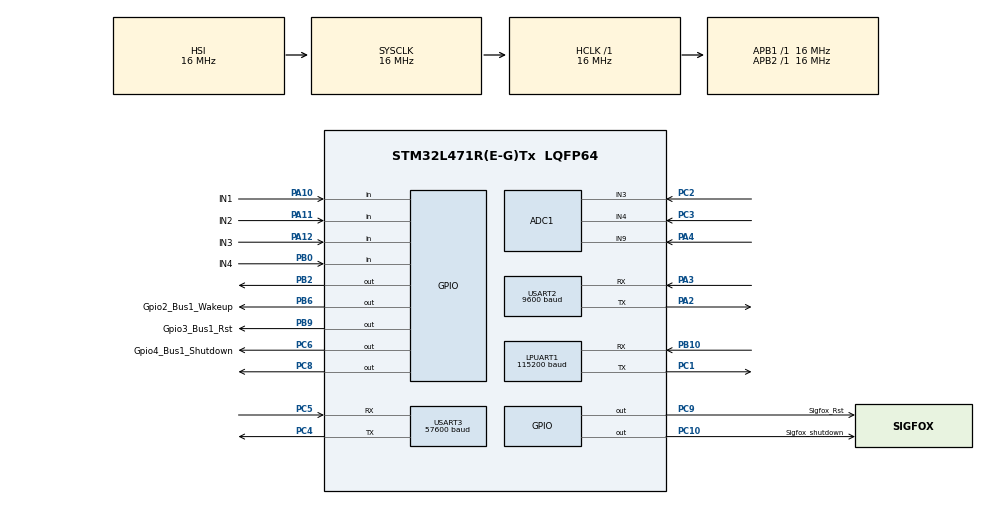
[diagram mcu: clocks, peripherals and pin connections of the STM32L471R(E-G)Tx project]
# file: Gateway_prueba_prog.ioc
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ADC1.Channel-6\#ChannelRegularConversion=ADC_CHANNEL_9
ADC1.EnableInjectedConversion=DISABLE
ADC1.EnableRegularConversion=ENABLE
ADC1.NbrOfConversionFlag=1
ADC1.OffsetNumber-6\#ChannelRegularConversion=ADC_OFFSET_NONE
ADC1.Rank-6\#ChannelRegularConversion=1
ADC1.SamplingTime-6\#ChannelRegularConversion=ADC_SAMPLETIME_92CYCLES_5
ADC1.master=1
LPUART1.BaudRate=115200
LPUART1.WordLength=UART_WORDLENGTH_8B
Mcu.Family=STM32L4
Mcu.Name=STM32L471R(E-G)Tx
Mcu.Package=LQFP64
NVIC.LPUART1_IRQn=true\:0\:0\:false\:false\:true\:true\:true
NVIC.PriorityGroup=NVIC_PRIORITYGROUP_4
NVIC.RTC_WKUP_IRQn=true\:0\:0\:false\:false\:true\:true\:true
NVIC.USART2_IRQn=true\:0\:0\:false\:false\:true\:true\:true
NVIC.USART3_IRQn=true\:0\:0\:false\:false\:true\:true\:true
PA10.GPIO_Label=IN1
PA10.Signal=GPIO_Input
PA11.GPIO_Label=IN2
PA11.Signal=GPIO_Input
PA12.GPIO_Label=IN3
PA12.Signal=GPIO_Input
PA2.Mode=Asynchronous
PA2.Signal=USART2_TX
PA3.Mode=Asynchronous
PA3.Signal=USART2_RX
PA4.Signal=ADCx_IN9
PB0.GPIO_Label=IN4
PB0.Signal=GPIO_Input
PB10.Mode=Asynchronous
PB10.Signal=LPUART1_RX
PB2.Signal=GPIO_Output
PB6.GPIO_Label=Gpio2_Bus1_Wakeup
PB6.Signal=GPIO_Output
PB9.GPIO_Label=Gpio3_Bus1_Rst
PB9.Signal=GPIO_Output
PC1.Mode=Asynchronous
PC1.Signal=LPUART1_TX
PC10.GPIO_Label=Sigfox_shutdown
PC10.Signal=GPIO_Output
PC2.Signal=ADCx_IN3
PC3.Signal=ADCx_IN4
PC4.Mode=Asynchronous
PC4.Signal=USART3_TX
PC5.Mode=Asynchronous
PC5.Signal=USART3_RX
PC6.GPIO_Label=Gpio4_Bus1_Shutdown
PC6.Signal=GPIO_Output
PC8.Signal=GPIO_Output
PC9.GPIO_Label=Sigfox_Rst
PC9.Signal=GPIO_Output
ProjectManager.HeapSize=0x200
ProjectManager.StackSize=0x400
ProjectManager.TargetToolchain=STM32CubeIDE
RCC.ADCFreq_Value=32000000
RCC.AHBFreq_Value=16000000
RCC.APB1Freq_Value=16000000
RCC.APB1TimFreq_Value=16000000
RCC.APB2Freq_Value=16000000
RCC.APB2TimFreq_Value=16000000
RCC.CortexFreq_Value=16000000
RCC.HCLKFreq_Value=16000000
RCC.HSE_VALUE=8000000
RCC.HSI_VALUE=16000000
RCC.LSE_VALUE=32768
RCC.MSI_VALUE=4000000
RCC.PLLSAI1N=16
RCC.PLLSAI1R=RCC_PLLR_DIV8
RCC.PLLSourceVirtual=RCC_PLLSOURCE_HSI
RCC.SYSCLKFreq_VALUE=16000000
RCC.SYSCLKSource=RCC_SYSCLKSOURCE_HSI
RCC.VCOOutputFreq_Value=128000000
RTC.WakeUpClock-WakeUp=RTC_WAKEUPCLOCK_CK_SPRE_16BITS
RTC.WakeUpCounter-WakeUp=30
SH.ADCx_IN3.0=ADC1_IN3,IN3-Single-Ended
SH.ADCx_IN4.0=ADC1_IN4,IN4-Single-Ended
SH.ADCx_IN9.0=ADC1_IN9,IN9-Single-Ended
USART2.BaudRate=9600
USART2.VirtualMode-Asynchronous=VM_ASYNC
USART3.BaudRate=57600
USART3.VirtualMode-Asynchronous=VM_ASYNC
VP_RTC_VS_RTC_Activate.Mode=RTC_Enabled
VP_RTC_VS_RTC_WakeUp_intern.Mode=WakeUp
board=custom

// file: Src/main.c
/* USER CODE BEGIN Header */
/**
  ******************************************************************************
  * @file           : main.c
  * @brief          : Main program body
  ******************************************************************************
  * @attention
  *
  * <h2><center>&copy; Copyright (c) 2019 STMicroelectronics.
  * All rights reserved.</center></h2>
  *
  * This software component is licensed by ST under BSD 3-Clause license,
  * the "License"; You may not use this file except in compliance with the
  * License. You may obtain a copy of the License at:
  *                        opensource.org/licenses/BSD-3-Clause
  *
  ******************************************************************************
  */
/* USER CODE END Header */

#include "main.h"

/* USER CODE BEGIN Includes */
#include <string.h>
#include "Common/Globals.h"
/* USER CODE END Includes */

ADC_HandleTypeDef hadc1;

UART_HandleTypeDef hlpuart1;
UART_HandleTypeDef huart2;
UART_HandleTypeDef huart3;

RTC_HandleTypeDef hrtc;

/* USER CODE BEGIN PV */
void PutCharWrapperLpUart_1(void *sp, const char c);
void PutStringWrapperLpUart_1(void *sp, const char *s);
/* USER CODE END PV */

void SystemClock_Config(void);
static void MX_GPIO_Init(void);
static void MX_LPUART1_UART_Init(void);
static void MX_USART3_UART_Init(void);
static void MX_USART2_UART_Init(void);
static void MX_ADC1_Init(void);
static void MX_RTC_Init(void);

int main(void)
{

  /* MCU Configuration--------------------------------------------------------*/

  /* Reset of all peripherals, Initializes the Flash interface and the Systick. */
  HAL_Init();

  /* Configure the system clock */
  SystemClock_Config();

  /* Initialize all configured peripherals */
  MX_GPIO_Init();
  MX_LPUART1_UART_Init();
  MX_USART3_UART_Init();
  MX_USART2_UART_Init();
  MX_ADC1_Init();
  MX_RTC_Init();
  /* USER CODE BEGIN 2 */

	HAL_UART_Receive_IT(&huart2,(uint8_t *)&UART_RX.Data,USART_RX_AMOUNT_BYTES);
	HAL_UART_Receive_IT(&huart3,(uint8_t *)&UART_RX3.Data,USART_RX_AMOUNT_BYTES);
	SigfoxModule.StatusFlag = WSSFM1XRX_Init(&SigfoxModule, RSTCtrl_Sigfox,
			RST2Ctrl_Sigfox, PutCharWrapperUart_1,
			WSSFM1XRX_RCZ4, DiscrimateFrameType, HAL_GetTick,BufferRxFrame,
			sizeof(BufferRxFrame), 4);
	SigFoxData.ReadyToUplink = 0;

	SigFoxData.ReadyToUplink = 0;
	SigFoxData.WilsolService_Status = WSSFM1XRX_STATUS_MODULE_NOT_INITIALIZED;

	qSetDebugFcn(UART_DEBUG);
	//HAL_PWR_EnableWakeUpPin(PWR_WAKEUP_PIN1); // quitar
	qResponseInitialize(&ResponseObject);
	//qResponseInitialize(&ResponseObjectLora);

	ProjectInformation();
	get_system_reset_cause();
	qSchedulerSetup(HAL_GetTick, 0.001, IdleTask_Callback, 0);

	qEdgeCheck_Initialize(&InputCheck, QREG_32BIT, 100);
	qEdgeCheck_InsertNode(&InputCheck, &InputButton, GPIOB_BASE, 0);

	qQueueCreate(&SigFox_UplinkQueue, mQueue_Stack, sizeof(SigfoxServiceRequest_t), 2);
	qTaskSetState(&Task_Wisol_Service,qEnabled);

	qSchedulerAddSMTask(&Task_ApplicationFSM, MEDIUM_Priority, 0.01, &StateMachine_ApplicationFSM, State_Init,NULL, NULL, State_Failure, NULL, qEnabled, NULL);
	qSchedulerAddxTask(&Task_Wisol_Service, WisolService_Callback, MEDIUM_Priority, 0.1, qPeriodic, qEnabled, NULL); /*en el mismo tiempo de la maquina de estados se pega en ATRC?? corutina??*/
	//qSchedulerAddxTask(&Task_LoRaWANService, LoRaWANService_Callback, MEDIUM_Priority, 0.1, qPeriodic, qDisabled, NULL); /*en el mismo tiempo de la maquina de estados se pega en ATRC?? corutina??*/

	qSchedulerAdd_EventTask(&Task_UplinkDispatcher, UplinkDispatcher_Callback, qHigh_Priority, NULL);
	qTaskAttachQueue(&Task_UplinkDispatcher, &SigFox_UplinkQueue, qQUEUE_COUNT, 1);

	qSchedulerRun();
  /* USER CODE END 2 */

  /* Infinite loop */
  while (1)
  {

    /* USER CODE BEGIN 3 */
	  //AN_IN1= ADC123_IN3(CORRIENTE)  AN_IN2 = ADC123_IN4(0-10) AN_IN3 = ADC12_IN9(0-5)
//	  value1 = App_ADCReadSingleChanne(&hadc1, 3);
//	  value2 = App_ADCReadSingleChanne(&hadc1, 4);
//	  value3 = App_ADCReadSingleChanne(&hadc1, 9);
//		// sprintf(buffer,"ADC_Current %d ADC_0_10 %d ADC_0_5 %d\r\n",value1 ,value2 ,value3 );
//		qTraceDecimal(value1);
//		qTraceDecimal(value2);
//		qTraceDecimal(value3);
//
//	  qTraceFloat(App_ADCReadSingleChanne(&hadc1, 3)*3.3/4095.0);
//		qTraceFloat(value2*3.3/4095.0);
//		qTraceFloat(value3*3.3/4095.0);

  }

  /* USER CODE END 3 */
}

void SystemClock_Config(void)
{
  RCC_OscInitTypeDef RCC_OscInitStruct = {0};
  RCC_ClkInitTypeDef RCC_ClkInitStruct = {0};
  RCC_PeriphCLKInitTypeDef PeriphClkInit = {0};

  /** Initializes the CPU, AHB and APB busses clocks
  */
  RCC_OscInitStruct.OscillatorType = RCC_OSCILLATORTYPE_HSI|RCC_OSCILLATORTYPE_LSI;
  RCC_OscInitStruct.HSIState = RCC_HSI_ON;
  RCC_OscInitStruct.HSICalibrationValue = RCC_HSICALIBRATION_DEFAULT;
  RCC_OscInitStruct.LSIState = RCC_LSI_ON;
  RCC_OscInitStruct.PLL.PLLState = RCC_PLL_NONE;
  if (HAL_RCC_OscConfig(&RCC_OscInitStruct) != HAL_OK)
  {
    Error_Handler();
  }
  /** Initializes the CPU, AHB and APB busses clocks
  */
  RCC_ClkInitStruct.ClockType = RCC_CLOCKTYPE_HCLK|RCC_CLOCKTYPE_SYSCLK
                              |RCC_CLOCKTYPE_PCLK1|RCC_CLOCKTYPE_PCLK2;
  RCC_ClkInitStruct.SYSCLKSource = RCC_SYSCLKSOURCE_HSI;
  RCC_ClkInitStruct.AHBCLKDivider = RCC_SYSCLK_DIV1;
  RCC_ClkInitStruct.APB1CLKDivider = RCC_HCLK_DIV1;
  RCC_ClkInitStruct.APB2CLKDivider = RCC_HCLK_DIV1;

  if (HAL_RCC_ClockConfig(&RCC_ClkInitStruct, FLASH_LATENCY_0) != HAL_OK)
  {
    Error_Handler();
  }
  PeriphClkInit.PeriphClockSelection = RCC_PERIPHCLK_RTC|RCC_PERIPHCLK_USART2
                              |RCC_PERIPHCLK_USART3|RCC_PERIPHCLK_LPUART1
                              |RCC_PERIPHCLK_ADC;
  PeriphClkInit.Usart2ClockSelection = RCC_USART2CLKSOURCE_PCLK1;
  PeriphClkInit.Usart3ClockSelection = RCC_USART3CLKSOURCE_PCLK1;
  PeriphClkInit.Lpuart1ClockSelection = RCC_LPUART1CLKSOURCE_PCLK1;
  PeriphClkInit.AdcClockSelection = RCC_ADCCLKSOURCE_PLLSAI1;
  PeriphClkInit.RTCClockSelection = RCC_RTCCLKSOURCE_LSI;
  PeriphClkInit.PLLSAI1.PLLSAI1Source = RCC_PLLSOURCE_HSI;
  PeriphClkInit.PLLSAI1.PLLSAI1M = 1;
  PeriphClkInit.PLLSAI1.PLLSAI1N = 16;
  PeriphClkInit.PLLSAI1.PLLSAI1P = RCC_PLLP_DIV7;
  PeriphClkInit.PLLSAI1.PLLSAI1Q = RCC_PLLQ_DIV2;
  PeriphClkInit.PLLSAI1.PLLSAI1R = RCC_PLLR_DIV8;
  PeriphClkInit.PLLSAI1.PLLSAI1ClockOut = RCC_PLLSAI1_ADC1CLK;
  if (HAL_RCCEx_PeriphCLKConfig(&PeriphClkInit) != HAL_OK)
  {
    Error_Handler();
  }
  /** Configure the main internal regulator output voltage
  */
  if (HAL_PWREx_ControlVoltageScaling(PWR_REGULATOR_VOLTAGE_SCALE1) != HAL_OK)
  {
    Error_Handler();
  }
}

static void MX_ADC1_Init(void)
{

  ADC_MultiModeTypeDef multimode = {0};
  ADC_ChannelConfTypeDef sConfig = {0};

  /** Common config
  */
  hadc1.Instance = ADC1;
  hadc1.Init.ClockPrescaler = ADC_CLOCK_ASYNC_DIV1;
  hadc1.Init.Resolution = ADC_RESOLUTION_12B;
  hadc1.Init.DataAlign = ADC_DATAALIGN_RIGHT;
  hadc1.Init.ScanConvMode = ADC_SCAN_DISABLE;
  hadc1.Init.EOCSelection = ADC_EOC_SINGLE_CONV;
  hadc1.Init.LowPowerAutoWait = DISABLE;
  hadc1.Init.ContinuousConvMode = DISABLE;
  hadc1.Init.NbrOfConversion = 1;
  hadc1.Init.DiscontinuousConvMode = DISABLE;
  hadc1.Init.ExternalTrigConv = ADC_SOFTWARE_START;
  hadc1.Init.ExternalTrigConvEdge = ADC_EXTERNALTRIGCONVEDGE_NONE;
  hadc1.Init.DMAContinuousRequests = DISABLE;
  hadc1.Init.Overrun = ADC_OVR_DATA_PRESERVED;
  hadc1.Init.OversamplingMode = DISABLE;
  if (HAL_ADC_Init(&hadc1) != HAL_OK)
  {
    Error_Handler();
  }
  /** Configure the ADC multi-mode
  */
  multimode.Mode = ADC_MODE_INDEPENDENT;
  if (HAL_ADCEx_MultiModeConfigChannel(&hadc1, &multimode) != HAL_OK)
  {
    Error_Handler();
  }
  /** Configure Regular Channel
  */
  sConfig.Channel = ADC_CHANNEL_9;
  sConfig.Rank = ADC_REGULAR_RANK_1;
  sConfig.SamplingTime = ADC_SAMPLETIME_92CYCLES_5;
  sConfig.SingleDiff = ADC_SINGLE_ENDED;
  sConfig.OffsetNumber = ADC_OFFSET_NONE;
  sConfig.Offset = 0;
  if (HAL_ADC_ConfigChannel(&hadc1, &sConfig) != HAL_OK)
  {
    Error_Handler();
  }

}

static void MX_LPUART1_UART_Init(void)
{

  hlpuart1.Instance = LPUART1;
  hlpuart1.Init.BaudRate = 115200;
  hlpuart1.Init.WordLength = UART_WORDLENGTH_8B;
  hlpuart1.Init.StopBits = UART_STOPBITS_1;
  hlpuart1.Init.Parity = UART_PARITY_NONE;
  hlpuart1.Init.Mode = UART_MODE_TX_RX;
  hlpuart1.Init.HwFlowCtl = UART_HWCONTROL_NONE;
  hlpuart1.Init.OneBitSampling = UART_ONE_BIT_SAMPLE_DISABLE;
  hlpuart1.AdvancedInit.AdvFeatureInit = UART_ADVFEATURE_NO_INIT;
  if (HAL_UART_Init(&hlpuart1) != HAL_OK)
  {
    Error_Handler();
  }

}

static void MX_USART2_UART_Init(void)
{

  huart2.Instance = USART2;
  huart2.Init.BaudRate = 9600;
  huart2.Init.WordLength = UART_WORDLENGTH_8B;
  huart2.Init.StopBits = UART_STOPBITS_1;
  huart2.Init.Parity = UART_PARITY_NONE;
  huart2.Init.Mode = UART_MODE_TX_RX;
  huart2.Init.HwFlowCtl = UART_HWCONTROL_NONE;
  huart2.Init.OverSampling = UART_OVERSAMPLING_16;
  huart2.Init.OneBitSampling = UART_ONE_BIT_SAMPLE_DISABLE;
  huart2.AdvancedInit.AdvFeatureInit = UART_ADVFEATURE_NO_INIT;
  if (HAL_UART_Init(&huart2) != HAL_OK)
  {
    Error_Handler();
  }

}

static void MX_USART3_UART_Init(void)
{

  huart3.Instance = USART3;
  huart3.Init.BaudRate = 57600;
  huart3.Init.WordLength = UART_WORDLENGTH_8B;
  huart3.Init.StopBits = UART_STOPBITS_1;
  huart3.Init.Parity = UART_PARITY_NONE;
  huart3.Init.Mode = UART_MODE_TX_RX;
  huart3.Init.HwFlowCtl = UART_HWCONTROL_NONE;
  huart3.Init.OverSampling = UART_OVERSAMPLING_16;
  huart3.Init.OneBitSampling = UART_ONE_BIT_SAMPLE_DISABLE;
  huart3.AdvancedInit.AdvFeatureInit = UART_ADVFEATURE_NO_INIT;
  if (HAL_UART_Init(&huart3) != HAL_OK)
  {
    Error_Handler();
  }

}

static void MX_RTC_Init(void)
{

  /** Initialize RTC Only
  */
  hrtc.Instance = RTC;
  hrtc.Init.HourFormat = RTC_HOURFORMAT_24;
  hrtc.Init.AsynchPrediv = 127;
  hrtc.Init.SynchPrediv = 255;
  hrtc.Init.OutPut = RTC_OUTPUT_DISABLE;
  hrtc.Init.OutPutRemap = RTC_OUTPUT_REMAP_NONE;
  hrtc.Init.OutPutPolarity = RTC_OUTPUT_POLARITY_HIGH;
  hrtc.Init.OutPutType = RTC_OUTPUT_TYPE_OPENDRAIN;
  if (HAL_RTC_Init(&hrtc) != HAL_OK)
  {
    Error_Handler();
  }
  /** Enable the WakeUp
  */
  if (HAL_RTCEx_SetWakeUpTimer_IT(&hrtc, 30, RTC_WAKEUPCLOCK_CK_SPRE_16BITS) != HAL_OK)
  {
    Error_Handler();
  }

}

static void MX_GPIO_Init(void)
{
  GPIO_InitTypeDef GPIO_InitStruct = {0};

  /* GPIO Ports Clock Enable */
  __HAL_RCC_GPIOC_CLK_ENABLE();
  __HAL_RCC_GPIOA_CLK_ENABLE();
  __HAL_RCC_GPIOB_CLK_ENABLE();

  /*Configure GPIO pin Output Level */
  HAL_GPIO_WritePin(GPIOB, GPIO_PIN_2|Gpio2_Bus1_Wakeup_Pin|Gpio3_Bus1_Rst_Pin, GPIO_PIN_RESET);

  /*Configure GPIO pin Output Level */
  HAL_GPIO_WritePin(GPIOC, Gpio4_Bus1_Shutdown_Pin|GPIO_PIN_8|Sigfox_Rst_Pin|Sigfox_shutdown_Pin, GPIO_PIN_RESET);

  /*Configure GPIO pin : IN4_Pin */
  GPIO_InitStruct.Pin = IN4_Pin;
  GPIO_InitStruct.Mode = GPIO_MODE_INPUT;
  GPIO_InitStruct.Pull = GPIO_NOPULL;
  HAL_GPIO_Init(IN4_GPIO_Port, &GPIO_InitStruct);

  /*Configure GPIO pins : PB2 Gpio2_Bus1_Wakeup_Pin Gpio3_Bus1_Rst_Pin */
  GPIO_InitStruct.Pin = GPIO_PIN_2|Gpio2_Bus1_Wakeup_Pin|Gpio3_Bus1_Rst_Pin;
  GPIO_InitStruct.Mode = GPIO_MODE_OUTPUT_PP;
  GPIO_InitStruct.Pull = GPIO_NOPULL;
  GPIO_InitStruct.Speed = GPIO_SPEED_FREQ_LOW;
  HAL_GPIO_Init(GPIOB, &GPIO_InitStruct);

  /*Configure GPIO pins : Gpio4_Bus1_Shutdown_Pin PC8 Sigfox_Rst_Pin Sigfox_shutdown_Pin */
  GPIO_InitStruct.Pin = Gpio4_Bus1_Shutdown_Pin|GPIO_PIN_8|Sigfox_Rst_Pin|Sigfox_shutdown_Pin;
  GPIO_InitStruct.Mode = GPIO_MODE_OUTPUT_PP;
  GPIO_InitStruct.Pull = GPIO_NOPULL;
  GPIO_InitStruct.Speed = GPIO_SPEED_FREQ_LOW;
  HAL_GPIO_Init(GPIOC, &GPIO_InitStruct);

  /*Configure GPIO pins : IN1_Pin IN2_Pin IN3_Pin */
  GPIO_InitStruct.Pin = IN1_Pin|IN2_Pin|IN3_Pin;
  GPIO_InitStruct.Mode = GPIO_MODE_INPUT;
  GPIO_InitStruct.Pull = GPIO_NOPULL;
  HAL_GPIO_Init(GPIOA, &GPIO_InitStruct);

}

/* USER CODE BEGIN 4 */

void HAL_RTCEx_WakeUpTimerEventCallback(RTC_HandleTypeDef *hrtc){
	PutStringWrapperUart_2(NULL,"=========================================\r\n");
	PutStringWrapperUart_2(NULL, "Wakeup Time\r\n");
	PutStringWrapperUart_2(NULL,"=========================================\r\n");
}
/* USER CODE END 4 */

void Error_Handler(void)
{
}

/************************ (C) COPYRIGHT STMicroelectronics *****END OF FILE****/
